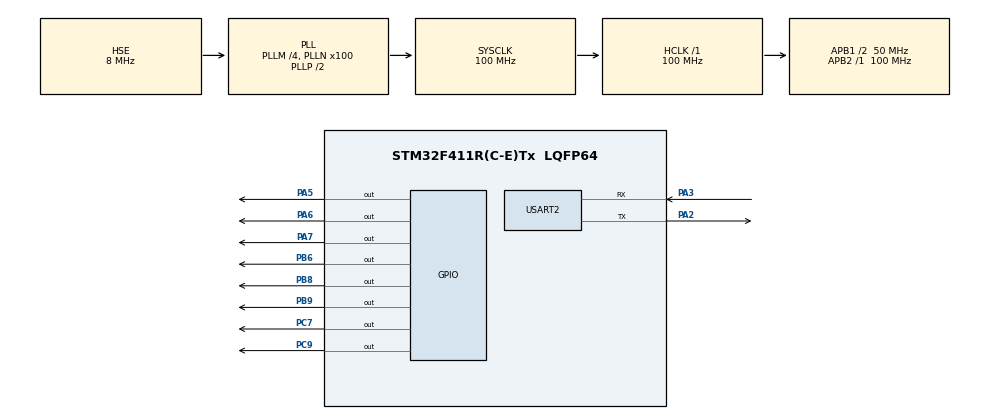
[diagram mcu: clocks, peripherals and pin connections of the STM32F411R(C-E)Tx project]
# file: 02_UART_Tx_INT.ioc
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Mcu.Family=STM32F4
Mcu.Name=STM32F411R(C-E)Tx
Mcu.Package=LQFP64
NVIC.PriorityGroup=NVIC_PRIORITYGROUP_4
NVIC.USART2_IRQn=true\:0\:0\:false\:false\:true\:true\:true\:true
PA13.Mode=Serial_Wire
PA13.Signal=SYS_JTMS-SWDIO
PA14.Mode=Serial_Wire
PA14.Signal=SYS_JTCK-SWCLK
PA2.Mode=Asynchronous
PA2.Signal=USART2_TX
PA3.Mode=Asynchronous
PA3.Signal=USART2_RX
PA5.Signal=GPIO_Output
PA6.Signal=GPIO_Output
PA7.Signal=GPIO_Output
PB6.Signal=GPIO_Output
PB8.Signal=GPIO_Output
PB9.Signal=GPIO_Output
PC7.Signal=GPIO_Output
PC9.Signal=GPIO_Output
PH0\ -\ OSC_IN.Mode=HSE-External-Oscillator
PH0\ -\ OSC_IN.Signal=RCC_OSC_IN
PH1\ -\ OSC_OUT.Mode=HSE-External-Oscillator
PH1\ -\ OSC_OUT.Signal=RCC_OSC_OUT
ProjectManager.HeapSize=0x200
ProjectManager.StackSize=0x400
ProjectManager.TargetToolchain=STM32CubeIDE
RCC.48MHZClocksFreq_Value=50000000
RCC.AHBFreq_Value=100000000
RCC.APB1CLKDivider=RCC_HCLK_DIV2
RCC.APB1Freq_Value=50000000
RCC.APB1TimFreq_Value=100000000
RCC.APB2Freq_Value=100000000
RCC.APB2TimFreq_Value=100000000
RCC.CortexFreq_Value=100000000
RCC.HCLKFreq_Value=100000000
RCC.HSE_VALUE=8000000
RCC.HSI_VALUE=16000000
RCC.LSE_VALUE=32768
RCC.PLLM=4
RCC.PLLN=100
RCC.PLLSourceVirtual=RCC_PLLSOURCE_HSE
RCC.SYSCLKFreq_VALUE=100000000
RCC.SYSCLKSource=RCC_SYSCLKSOURCE_PLLCLK
RCC.VCOOutputFreq_Value=200000000
USART2.VirtualMode=VM_ASYNC
board=custom

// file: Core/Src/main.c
/* USER CODE BEGIN Header */
/**
  ******************************************************************************
  * @file           : main.c
  * @brief          : Main program body
  ******************************************************************************
  * @attention
  *
  * Copyright (c) 2025 STMicroelectronics.
  * All rights reserved.
  *
  * This software is licensed under terms that can be found in the LICENSE file
  * in the root directory of this software component.
  * If no LICENSE file comes with this software, it is provided AS-IS.
  *
  ******************************************************************************
  */
/* USER CODE END Header */
#include "main.h"
#include "usart.h"
#include "gpio.h"

/* USER CODE BEGIN Includes */

#include "led.h"

/* USER CODE END Includes */

/* USER CODE BEGIN PV */

uint8_t rxData;   // 전역변수 (배열 x)
uint8_t onFlag = 0;
uint8_t offFlag = 0;
uint8_t leftShiftFlag;
uint8_t rightShiftFlag;
//uint8_t flowerShiftFlag = 0;

/* USER CODE END PV */

void SystemClock_Config(void);
/* USER CODE BEGIN PFP */

void HAL_UART_RxCpltCallback(UART_HandleTypeDef *huart)
{
  if(huart -> Instance == USART2)
  {
    HAL_UART_Receive_IT(&huart2, &rxData, sizeof(rxData));
    HAL_UART_Transmit(&huart2, &rxData, sizeof(rxData), 100);

    if(rxData == 'a')
    {
      onFlag = 1;
    }

    else if(rxData == 'b')
    {
      offFlag = 1;
    }

    else if(rxData == 'c')
    {
      leftShiftFlag = 1;
    }

    else if(rxData == 'd')
    {
      rightShiftFlag = 1;
    }

//    else if(rxData == 'e')
//    {
//      flowerShiftFlag = 1;
//    }

  }
}

/* USER CODE END PFP */

int main(void)
{

  /* MCU Configuration--------------------------------------------------------*/

  /* Reset of all peripherals, Initializes the Flash interface and the Systick. */

HAL_Init();

  /* Configure the system clock */
  SystemClock_Config();

  /* Initialize all configured peripherals */
  MX_GPIO_Init();
  MX_USART2_UART_Init();
  /* USER CODE BEGIN 2 */

  HAL_UART_Receive_IT(&huart2, &rxData, sizeof(rxData));

  /* USER CODE END 2 */

  /* Infinite loop */
  /* USER CODE BEGIN WHILE */
  while (1)
  {
    if(onFlag == 1)
    {
      ledOn(8);
      onFlag = 0;
    }

    if(offFlag == 1)
    {
      ledOff(8);
      offFlag = 0;
    }

    if(leftShiftFlag == 1)
    {
      ledLeftshift(8);
      leftShiftFlag = 0;
    }

    if(rightShiftFlag == 1)
    {
      ledRightshift(8);
      rightShiftFlag = 0;
    }

//    if(flowerShiftFlag == 1)
//    {
//      ledFlowershift(8);
//      flowerShiftFlag = 0;
//    }
    /* USER CODE END WHILE */

  }
}

void SystemClock_Config(void)
{
  RCC_OscInitTypeDef RCC_OscInitStruct = {0};
  RCC_ClkInitTypeDef RCC_ClkInitStruct = {0};

  /** Configure the main internal regulator output voltage
  */
  __HAL_RCC_PWR_CLK_ENABLE();
  __HAL_PWR_VOLTAGESCALING_CONFIG(PWR_REGULATOR_VOLTAGE_SCALE1);

  /** Initializes the RCC Oscillators according to the specified parameters
  * in the RCC_OscInitTypeDef structure.
  */
  RCC_OscInitStruct.OscillatorType = RCC_OSCILLATORTYPE_HSE;
  RCC_OscInitStruct.HSEState = RCC_HSE_ON;
  RCC_OscInitStruct.PLL.PLLState = RCC_PLL_ON;
  RCC_OscInitStruct.PLL.PLLSource = RCC_PLLSOURCE_HSE;
  RCC_OscInitStruct.PLL.PLLM = 4;
  RCC_OscInitStruct.PLL.PLLN = 100;
  RCC_OscInitStruct.PLL.PLLP = RCC_PLLP_DIV2;
  RCC_OscInitStruct.PLL.PLLQ = 4;
  if (HAL_RCC_OscConfig(&RCC_OscInitStruct) != HAL_OK)
  {
    Error_Handler();
  }

  /** Initializes the CPU, AHB and APB buses clocks
  */
  RCC_ClkInitStruct.ClockType = RCC_CLOCKTYPE_HCLK|RCC_CLOCKTYPE_SYSCLK
                              |RCC_CLOCKTYPE_PCLK1|RCC_CLOCKTYPE_PCLK2;
  RCC_ClkInitStruct.SYSCLKSource = RCC_SYSCLKSOURCE_PLLCLK;
  RCC_ClkInitStruct.AHBCLKDivider = RCC_SYSCLK_DIV1;
  RCC_ClkInitStruct.APB1CLKDivider = RCC_HCLK_DIV2;
  RCC_ClkInitStruct.APB2CLKDivider = RCC_HCLK_DIV1;

  if (HAL_RCC_ClockConfig(&RCC_ClkInitStruct, FLASH_LATENCY_3) != HAL_OK)
  {
    Error_Handler();
  }
}

void Error_Handler(void)
{
  __disable_irq();
  while (1)
  {
  }
}
